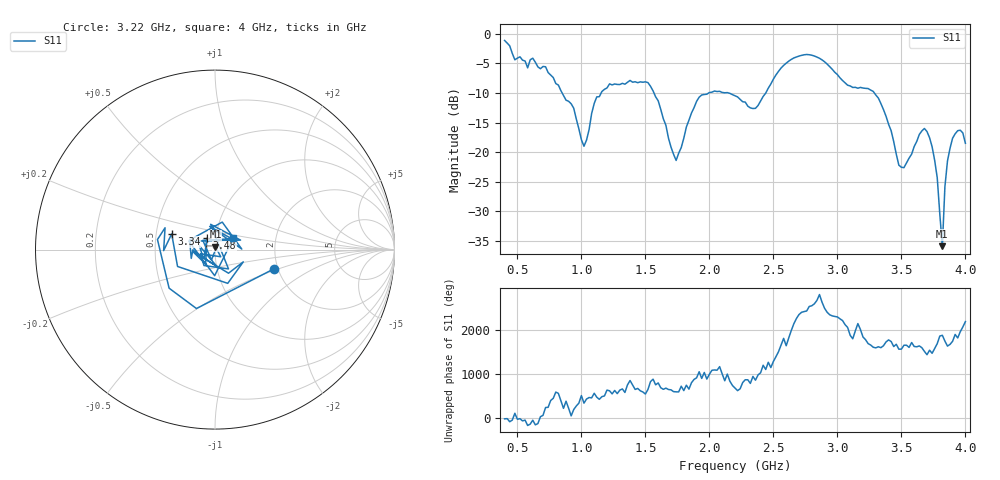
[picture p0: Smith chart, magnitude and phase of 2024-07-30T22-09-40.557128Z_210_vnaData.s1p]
!Created with skrf (http://scikit-rf.org).
# Hz S RI R 50.0
!freq ReS11 ImS11
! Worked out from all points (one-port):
!   181 points, 400 MHz to 4 GHz, reference 50 ohm
!   lowest |S11| = -35.9 dB at 3.82 GHz (marker M1), VSWR 1.03, Z = 50.2 + j1.6 ohm
!   |S11| at or under -10 dB: 849.5 MHz to 1.155 GHz (305.1 MHz wide, 30.4 % of centre); 1.567 GHz to 1.995 GHz (428.2 MHz wide, 24 % of centre); 3.288 GHz to end of sweep (the widest 3 of 4)
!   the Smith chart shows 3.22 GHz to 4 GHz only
!   S11 on the Smith chart (normalised r, x): 3.22 GHz: 1.90, -0.46; 3.34 GHz: 0.60, +0.11; 3.48 GHz: 0.91, +0.11; 4 GHz: 1.22, +0.15
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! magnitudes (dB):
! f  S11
! 400 MHz  -1.1
! 720 MHz  -5.6
! 860 MHz  -10.4
! 940 MHz  -12.6
! 1.02 GHz  -19.0
! 1.12 GHz  -10.7
! 1.3 GHz  -8.6
! 1.52 GHz  -8.3
! 1.74 GHz  -21.4
! 1.76 GHz  -20.2
! 1.92 GHz  -10.7
! 2.2 GHz  -10.5
! 2.36 GHz  -12.6
! 2.66 GHz  -4.1
! 2.86 GHz  -4.2
! 3.1 GHz  -8.8
! 3.22 GHz  -9.2
! 3.34 GHz  -11.8
! 3.48 GHz  -22.2
! 3.56 GHz  -21.0
! 3.66 GHz  -16.4
! 3.72 GHz  -17.6
! 3.78 GHz  -24.3
! 3.82 GHz  -35.9
! 3.84 GHz  -25.8
! 3.88 GHz  -19.3
! 3.94 GHz  -16.4
! 4 GHz  -18.5
